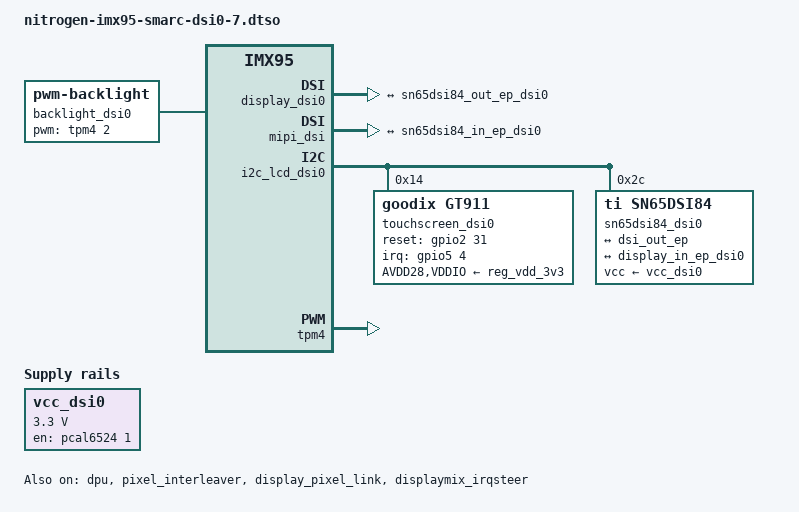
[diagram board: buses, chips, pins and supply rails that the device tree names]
// SPDX-License-Identifier: (GPL-2.0-or-later OR MIT)
/*
 * Copyright 2024 Ezurio LLC
 */

/dts-v1/;
/plugin/;

#include "imx95-clock.h"
#include <dt-bindings/gpio/gpio.h>
#include <dt-bindings/interrupt-controller/irq.h>
#include "imx95-pinfunc.h"

#include "nitrogen-imx95-bd-panel.dtsi"

&{/} {
	backlight_dsi0: backlight-dsi0 {
		brightness-levels = <0 1 2 3 4 5 6 7 8 9 10>;
		compatible = "pwm-backlight";
		default-brightness-level = <8>;

		pwms = <&tpm4 2 30000 0>;
	};

	display_dsi0: display-dsi0 {
		compatible = "panel-lvds";
		data-mapping = "vesa-24";

		backlight = <&backlight_dsi0>;

		width-mm = <150>;
		height-mm = <94>;

		panel-timing {
			BD_PANEL_TIMING
		};

		port {
			display_in_ep_dsi0: endpoint {
				remote-endpoint = <&sn65dsi84_out_ep_dsi0>;
			};
		};
	};

	vcc_dsi0: regulator-vcc-dsi0 {
		compatible = "regulator-fixed";
		regulator-name = "vcc_dsi0";
		regulator-min-microvolt = <3300000>;
		regulator-max-microvolt = <3300000>;

		gpios = <&pcal6524 1 GPIO_ACTIVE_HIGH>;
		enable-active-high;

		// This delay need to account for DSI clock startup time
		// SN65DSI84 enables PLL on enable phase and waits for it to lock on 
		// DSI clock, but this clock just started a moment ago, so it is not 
		// yet stable, as such PLL cannot lock on it.
		startup-delay-us = <30000>;
	};
};

&mipi_dsi {
	status = "okay";

	ports {
		#address-cells = <1>;
		#size-cells = <0>;

		port@1 {
			reg = <1>;

			dsi_out_ep: endpoint {
				remote-endpoint = <&sn65dsi84_in_ep_dsi0>;
			};
		};
	};
};

&i2c_lcd_dsi0 {
	#address-cells = <1>;
	#size-cells = <0>;

	touchscreen_dsi0: touchscreen-dsi0@14 {
		compatible = "goodix,gt911";
		reg = <0x14>;

		AVDD28-supply = <&reg_vdd_3v3>; /* Real supply is on the display */
		VDDIO-supply = <&reg_vdd_3v3>;

		pinctrl-names = "default";
		pinctrl-0 = <&pinctrl_touchscreen_dsi0>;
		reset-gpios = <&gpio2 31 GPIO_ACTIVE_HIGH>;
		irq-gpios = <&gpio5 4 GPIO_ACTIVE_HIGH>;
		interrupts-extended = <&gpio5 4 IRQ_TYPE_LEVEL_HIGH>;
		interrupt-names = "irq";

		touchscreen-min-x = <0>;
		touchscreen-min-y = <0>;
		touchscreen-size-x = <1280>;
		touchscreen-size-y = <800>;
	};

	sn65dsi84_dsi0: sn65dsi84-dsi0@2c {
		compatible = "ti,sn65dsi84";
		reg = <0x2c>;

		vcc-supply = <&vcc_dsi0>;

		ports {
			#address-cells = <1>;
			#size-cells = <0>;

			port@0 {
				reg = <0>;

				sn65dsi84_in_ep_dsi0: endpoint {
					remote-endpoint = <&dsi_out_ep>;
					data-lanes = <1 2 3 4>;
				};
			};

			port@2 {
				reg = <2>;

				sn65dsi84_out_ep_dsi0: endpoint {
					remote-endpoint = <&display_in_ep_dsi0>;
				};
			};
		};
	};
};

&tpm4 {
	status = "okay";
};

&dpu {
	assigned-clocks = <&scmi_clk IMX95_CLK_DISP1PIX>,
			  <&scmi_clk IMX95_CLK_VIDEOPLL1_VCO>,
			  <&scmi_clk IMX95_CLK_VIDEOPLL1>;
	assigned-clock-parents = <&scmi_clk IMX95_CLK_VIDEOPLL1>;
	// 24 * DSI_CLOCK, 3 * DSI_CLOCK
	assigned-clock-rates = <0>, <3456000000>, <432000000>;
	status = "okay";
};

&scmi_iomuxc {
	pinctrl_touchscreen_dsi0: pinctrl-touchscreen-dsi0 {
		fsl,pins = <
			IMX95_PAD_XSPI1_DATA4__GPIO5_IO_BIT4	0x137e
			IMX95_PAD_GPIO_IO31__GPIO2_IO_BIT31 	0x37e
		>;
	};
};

&pixel_interleaver {
	status = "okay";

	#address-cells = <1>;
	#size-cells = <0>;

	channel@0 {
		reg = <0>;
		status = "okay";
	};
};

&display_pixel_link {
	status = "okay";
};

&displaymix_irqsteer {
	status = "okay";
};
